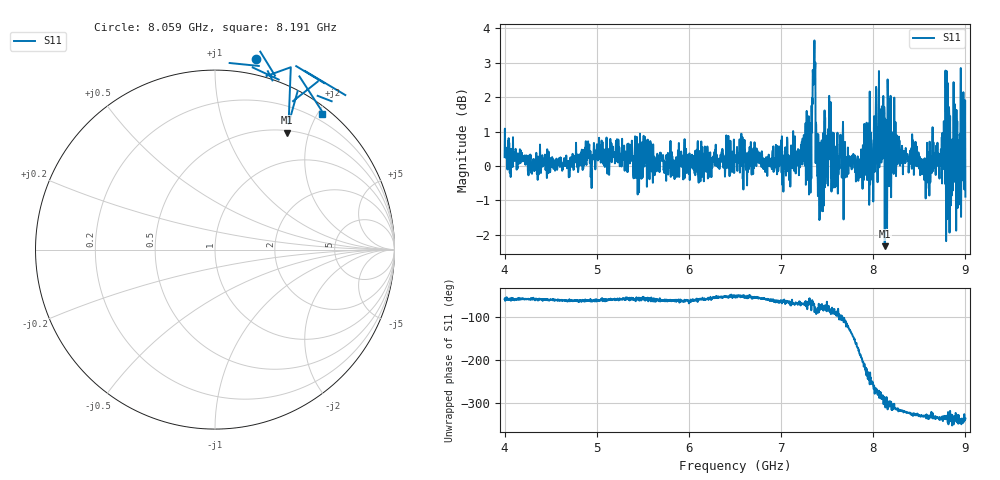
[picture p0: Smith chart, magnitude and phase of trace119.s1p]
! Created with skrf 1.8.0 (http://scikit-rf.org).
# Hz S RI R 50.0
!freq ReS11 ImS11
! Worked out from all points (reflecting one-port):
!   1601 points, 4 GHz to 9 GHz, reference 50 ohm
!   lowest |S11| = -2.3 dB at 8.125 GHz (marker M1), VSWR 7.50, Z = 26.4 + j82.9 ohm
!   phase of S11 starts at -58 deg and turns -279 deg over the sweep
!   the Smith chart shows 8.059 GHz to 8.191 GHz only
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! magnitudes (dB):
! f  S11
! 4 GHz  0.3
! 4.625 GHz  -0.1
! 5.25 GHz  0.0
! 5.875 GHz  -0.2
! 6.5 GHz  0.1
! 7.125 GHz  -0.1
! 7.306 GHz  1.3
! 7.356 GHz  2.9
! 7.381 GHz  1.2
! 7.4 GHz  -0.9
! 7.438 GHz  -0.6
! 7.512 GHz  1.1
! 7.566 GHz  -0.6
! 7.65 GHz  0.7
! 7.75 GHz  0.0
! 7.875 GHz  -0.3
! 7.928 GHz  1.3
! 7.981 GHz  0.6
! 8.097 GHz  0.8
! 8.125 GHz  -2.3
! 8.375 GHz  0.3
! 8.584 GHz  0.7
! 8.788 GHz  0.0
! 8.841 GHz  0.6
! 8.888 GHz  -0.1
! 8.919 GHz  -0.8
! 8.972 GHz  0.4
! 9 GHz  -0.9
